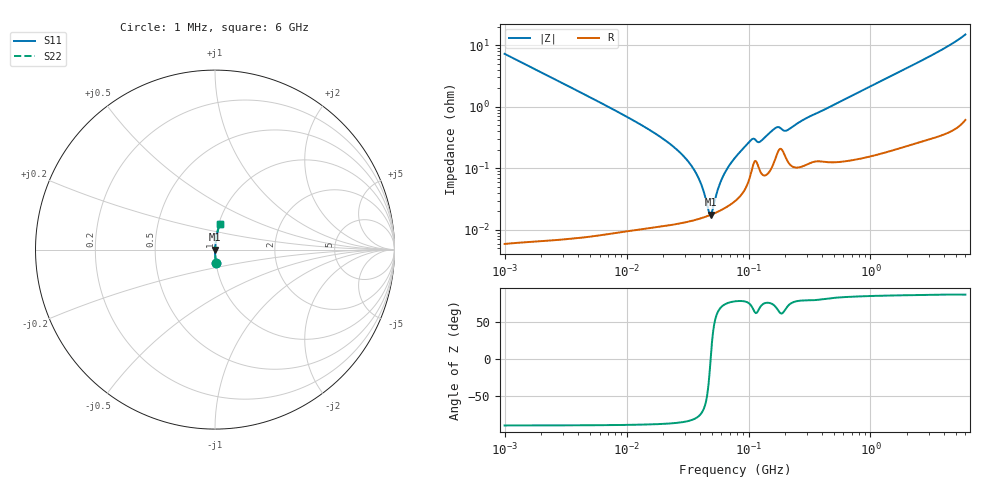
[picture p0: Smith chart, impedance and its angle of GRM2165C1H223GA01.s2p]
!Murata Part Number: GRM2165C1H223GA01
!These Parameters are Measured in Series Mode Connection
!Data Generated on Mar 30, 2021
!  o--ll--o
!Port1  Port2
!  o------o
!Operation Temp=25[degC], DC Bias Voltage=0[V]
!Freq. Start=1000[kHz] Stop=6[GHz] 401[Steps]
# Hz S RI R 50
!Freq.(Hz) S11(Real) S11(Imag) S21(Real) S21(Imag) S12(Real) S12(Imag) S22(Real) S22(Imag)
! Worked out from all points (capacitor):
!   401 points, 1 MHz to 6 GHz, reference 50 ohm
!   read as one part in series: C = 22 nF near 1.044 MHz
!   lowest |Z| = 17.7 mohm at 49.06 MHz (marker M1)
!   series resonance near 48.88 MHz, so ESL is about 480 pH
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1000000  0.00526 -0.0719  0.9947 0.0719  0.9947 0.0719  0.00526 -0.0719
4293785  0.000354 -0.0167  0.9996 0.0167  0.9996 0.0167  0.000354 -0.0167
1.843659e7  0.000124 -0.00335  0.9999 0.00335  0.9999 0.00335  0.000124 -0.00335
2.668407e7  0.00013 -0.0019  0.9999 0.0019  0.9999 0.0019  0.00013 -0.0019
3.46415e7  0.000142 -0.00104  0.9999 0.00104  0.9999 0.00104  0.000142 -0.00104
4.033799e7  0.000154 -0.000572  0.9998 0.000572  0.9998 0.000572  0.000154 -0.000572
4.305766e7  0.00016 -0.000376  0.9998 0.000376  0.9998 0.000376  0.00016 -0.000376
4.697123e7  0.00017 -0.000118  0.9998 0.000118  0.9998 0.000118  0.00017 -0.000118
4.905945e7  0.000176 1.11e-05  0.9998 -1.11e-05  0.9998 -1.11e-05  0.000176 1.11e-05
5.124051e7  0.000182 0.00014  0.9998 -0.00014  0.9998 -0.00014  0.000182 0.00014
5.589783e7  0.000197 0.000402  0.9998 -0.000402  0.9998 -0.000402  0.000197 0.000402
6.097846e7  0.000215 0.000668  0.9998 -0.000668  0.9998 -0.000668  0.000215 0.000668
6.798347e7  0.000245 0.00101  0.9998 -0.00101  0.9998 -0.00101  0.000245 0.00101
7.745967e7  0.000295 0.00146  0.9997 -0.00146  0.9997 -0.00146  0.000295 0.00146
1.073387e8  0.00101 0.00281  0.999 -0.00281  0.999 -0.00281  0.00101 0.00281
1.249896e8  0.000888 0.00258  0.9991 -0.00258  0.9991 -0.00258  0.000888 0.00258
1.658303e8  0.00144 0.00426  0.9986 -0.00426  0.9986 -0.00426  0.00144 0.00426
2.061188e8  0.00139 0.00388  0.9986 -0.00388  0.9986 -0.00388  0.00139 0.00388
3.325952e8  0.0013 0.00716  0.9987 -0.00716  0.9987 -0.00716  0.0013 0.00716
1.428092e9  0.00281 0.0303  0.9972 -0.0303  0.9972 -0.0303  0.00281 0.0303
3.5601e9  0.00915 0.0765  0.9908 -0.0765  0.9908 -0.0765  0.00915 0.0765
6e9  0.0274 0.144  0.9726 -0.144  0.9726 -0.144  0.0274 0.144
